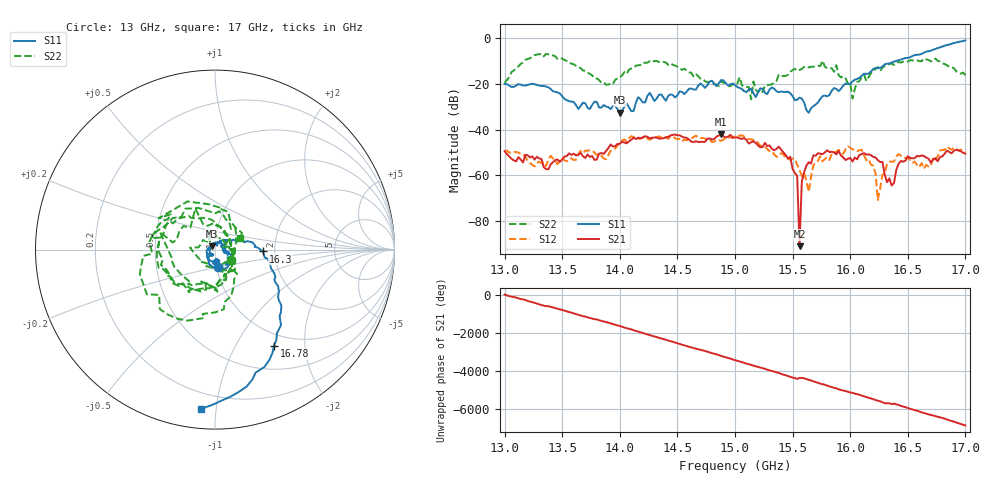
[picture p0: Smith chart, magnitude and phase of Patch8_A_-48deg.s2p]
!Keysight Technologies,P9374A,MY57211810,A.19.30.04
!Date: Friday, May 09, 2025 09:19:03
!Correction: S11(Cdelta 2-Port  )
!S21(Cdelta 2-Port  )
!S12(Cdelta 2-Port  )
!S22(Cdelta 2-Port  )
!S2P File: Measurements: S11, S21, S12, S22:
# Hz S  dB  R 50
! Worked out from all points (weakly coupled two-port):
!   201 points, 13 GHz to 17 GHz, reference 50 ohm
!   highest |S21| = -41.92 dB at 14.88 GHz (marker M1); lowest = -90.9 dB at 15.56 GHz (marker M2)
!   lowest |S11| = -32.6 dB at 14 GHz (marker M3), VSWR 1.05, Z = 48.5 + j1.76 ohm
!   |S11| at or under -10 dB: start of sweep to 16.4 GHz
!   |S22| runs from -26.7 to -6.9 dB; largest |S21 - S12| = 0.0023
!   S11 on the Smith chart (normalised r, x): 13 GHz: 1.02, -0.20; 16.3 GHz: 1.73, -0.04; 16.78 GHz: 0.82, -1.45; 17 GHz: 0.11, -0.91
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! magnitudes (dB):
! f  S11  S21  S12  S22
! 13 GHz  -19.9  -49.4  -49.5  -19.5
! 13.3 GHz  -20.7  -52.6  -54.0  -7.0
! 13.68 GHz  -28.2  -51.6  -50.3  -14.1
! 14 GHz  -32.6  -46.1  -45.8  -17.2
! 14.34 GHz  -24.8  -43.9  -42.9  -10.4
! 14.88 GHz  -18.3  -41.9  -44.9  -18.9
! 15 GHz  -20.5  -43.4  -42.8  -19.3
! 15.14 GHz  -22.1  -45.5  -44.2  -26.7
! 15.48 GHz  -24.1  -51.9  -53.3  -14.7
! 15.54 GHz  -26.9  -60.2  -55.3  -14.3
! 15.56 GHz  -26.0  -90.9  -57.6  -13.9
! 15.58 GHz  -26.4  -62.7  -60.3  -13.4
! 15.64 GHz  -32.6  -54.2  -67.2  -12.8
! 15.68 GHz  -29.8  -51.2  -55.6  -12.5
! 15.88 GHz  -22.2  -50.8  -49.7  -11.9
! 16.02 GHz  -18.9  -53.9  -48.6  -26.4
! 16.2 GHz  -13.5  -51.9  -55.8  -14.1
! 16.24 GHz  -13.0  -53.3  -70.7  -12.6
! 16.3 GHz  -11.5  -59.7  -59.1  -12.2
! 16.34 GHz  -11.0  -61.3  -53.9  -11.3
! 16.78 GHz  -4.0  -51.9  -49.2  -10.2
! 17 GHz  -1.0  -50.5  -49.8  -16.2
